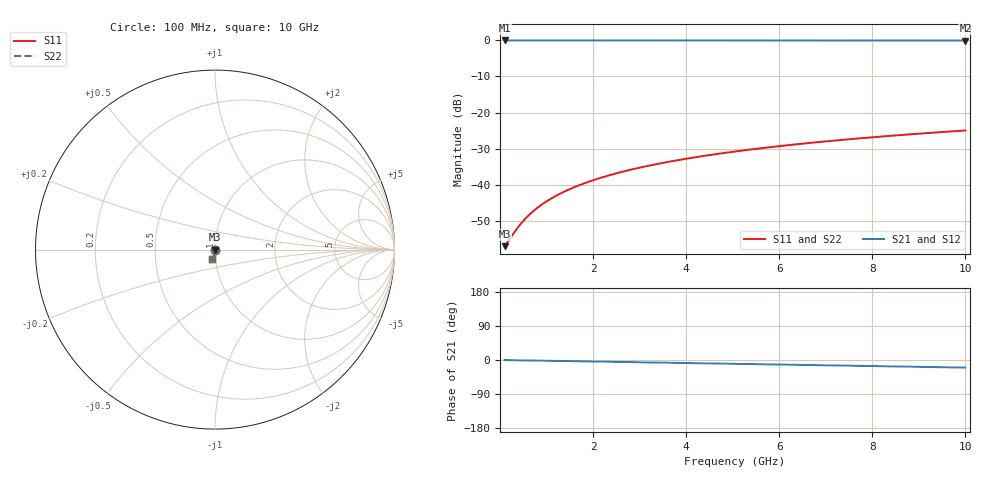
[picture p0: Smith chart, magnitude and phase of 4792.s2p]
# Hz S RI R 50.00
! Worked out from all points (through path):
!   100 points, 100 MHz to 10 GHz, reference 50 ohm
!   highest |S21| = -0.01 dB at 100 MHz (marker M1); lowest = 0.0 dB at 10 GHz (marker M2)
!   group delay of S21, straight-line fit = 5.57 ps
!   lowest |S11| = -57.1 dB at 100 MHz (marker M3), VSWR 1.00, Z = 50.1 - j0.0577 ohm
!   |S11| at or under -10 dB: start of sweep to end of sweep
!   |S22| runs from -57.1 to -25.0 dB; largest |S21 - S12| = 0
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1e8  0.00128 -0.000576  0.9987 -0.00348  0.9987 -0.00348  0.00128 -0.000576
2e8  0.00128 -0.00115  0.9987 -0.00697  0.9987 -0.00697  0.00128 -0.00115
3e8  0.00128 -0.00173  0.9986 -0.0104  0.9986 -0.0104  0.00128 -0.00173
4e8  0.00126 -0.0023  0.9986 -0.0139  0.9986 -0.0139  0.00126 -0.0023
5e8  0.00125 -0.00288  0.9985 -0.0174  0.9985 -0.0174  0.00125 -0.00288
6e8  0.00123 -0.00345  0.9985 -0.0209  0.9985 -0.0209  0.00123 -0.00345
7e8  0.0012 -0.00403  0.9984 -0.0244  0.9984 -0.0244  0.0012 -0.00403
8e8  0.00118 -0.00461  0.9983 -0.0279  0.9983 -0.0279  0.00118 -0.00461
1e9  0.00111 -0.00576  0.998 -0.0348  0.998 -0.0348  0.00111 -0.00576
1.2e9  0.00102 -0.00691  0.9977 -0.0418  0.9977 -0.0418  0.00102 -0.00691
1.5e9  0.000859 -0.00863  0.9972 -0.0522  0.9972 -0.0522  0.000859 -0.00863
1.8e9  0.000662 -0.0103  0.9966 -0.0627  0.9966 -0.0627  0.000662 -0.0103
2.1e9  0.000429 -0.0121  0.9959 -0.0731  0.9959 -0.0731  0.000429 -0.0121
2.5e9  6.1e-05 -0.0143  0.9947 -0.087  0.9947 -0.087  6.1e-05 -0.0143
2.9e9  -0.000371 -0.0166  0.9933 -0.1009  0.9933 -0.1009  -0.000371 -0.0166
3.4e9  -0.000999 -0.0194  0.9913 -0.1182  0.9913 -0.1182  -0.000999 -0.0194
4.2e9  -0.00221 -0.0239  0.9875 -0.1458  0.9875 -0.1458  -0.00221 -0.0239
5.1e9  -0.00387 -0.0288  0.9823 -0.1768  0.9823 -0.1768  -0.00387 -0.0288
5.9e9  -0.0056 -0.0332  0.9768 -0.2042  0.9768 -0.2042  -0.0056 -0.0332
6.7e9  -0.00758 -0.0374  0.9705 -0.2314  0.9705 -0.2314  -0.00758 -0.0374
8.4e9  -0.0125 -0.0459  0.9546 -0.2886  0.9546 -0.2886  -0.0125 -0.0459
1e10  -0.0181 -0.0534  0.9364 -0.3415  0.9364 -0.3415  -0.0181 -0.0534
